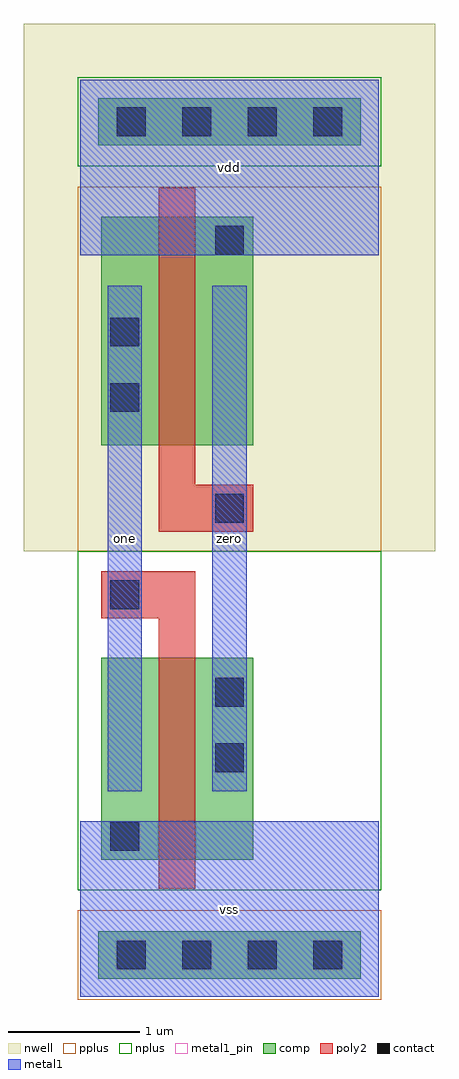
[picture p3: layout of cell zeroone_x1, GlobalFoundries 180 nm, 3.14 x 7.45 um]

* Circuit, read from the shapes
.subckt zeroone_x1 one vdd vss zero
XM1 zero one vss vss nfet_03v3 w=1.545u l=0.28u
XM2 vdd zero one vdd pfet_03v3 w=1.745u l=0.28u
.ends

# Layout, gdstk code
import gdstk
lib = gdstk.Library(unit=1e-6, precision=1e-09)
def R(c, l, rs):  # rectangles x0, y0, x1, y1
    for r in rs: c.add(gdstk.rectangle(r[:2], r[2:], *l))
def A(c, l, x, y, w, h, nx, ny, dx, dy):  # array of equal rectangles
    R(c, l, [(x+i*dx, y+j*dy, x+i*dx+w, y+j*dy+h) for i in range(nx) for j in range(ny)])
def P(c, l, *ps):  # polygons
    for p in ps: c.add(gdstk.Polygon(p, *l))
nwell = (21, 0)
comp = (22, 0)
poly2 = (30, 0)
pplus = (31, 0)
nplus = (32, 0)
contact = (33, 0)
metal1 = (34, 0)
metal1_pin = (34, 10)

zeroone_x1 = lib.new_cell('zeroone_x1')
R(zeroone_x1, nwell, [(-0.43,3.4,2.71,7.43)])
R(zeroone_x1, comp, [(0.14,0.14,2.14,0.5), (0.16,1.045,1.32,2.59), (0.16,4.21,1.32,5.955), (0.14,6.5,2.14,6.86)])
P(zeroone_x1, poly2, [(0.6,0.825),(0.6,2.89),(0.16,2.89),(0.16,3.25),(0.88,3.25),(0.88,0.825)],
  [(0.6,3.55),(0.6,6.175),(0.88,6.175),(0.88,3.91),(1.32,3.91),(1.32,3.55)])
R(zeroone_x1, pplus, [(-0.02,-0.02,2.3,0.66), (-0.02,3.4,2.3,6.185)])
R(zeroone_x1, nplus, [(-0.02,0.815,2.3,3.4), (-0.02,6.34,2.3,7.02)])
A(zeroone_x1, contact, 0.28, 0.21, 0.22, 0.22, 4, 2, 0.5, 6.36)
R(zeroone_x1, contact, [(0.23,1.115,0.45,1.335), (1.03,1.715,1.25,1.935), (1.03,2.215,1.25,2.435), (0.23,2.96,0.45,3.18), (1.03,3.62,1.25,3.84), (0.23,4.465,0.45,4.685), (0.23,4.965,0.45,5.185), (1.03,5.665,1.25,5.885)])
R(zeroone_x1, metal1, [(0,0,2.28,1.34), (0.21,1.57,0.47,5.43), (1.01,1.57,1.27,5.43), (0,5.66,2.28,7)])
R(zeroone_x1, metal1_pin, [(0,0,2.28,1.34), (0.21,1.57,0.47,5.43), (1.01,1.57,1.27,5.43), (0,5.66,2.28,7)])
zeroone_x1.add(gdstk.Label('vss', (1.14,0.67), layer=34, texttype=10))
zeroone_x1.add(gdstk.Label('one', (0.34,3.5), layer=34, texttype=10))
zeroone_x1.add(gdstk.Label('vdd', (1.14,6.33), layer=34, texttype=10))
zeroone_x1.add(gdstk.Label('zero', (1.14,3.5), layer=34, texttype=10))

lib.write_gds('zeroone_x1.gds')
